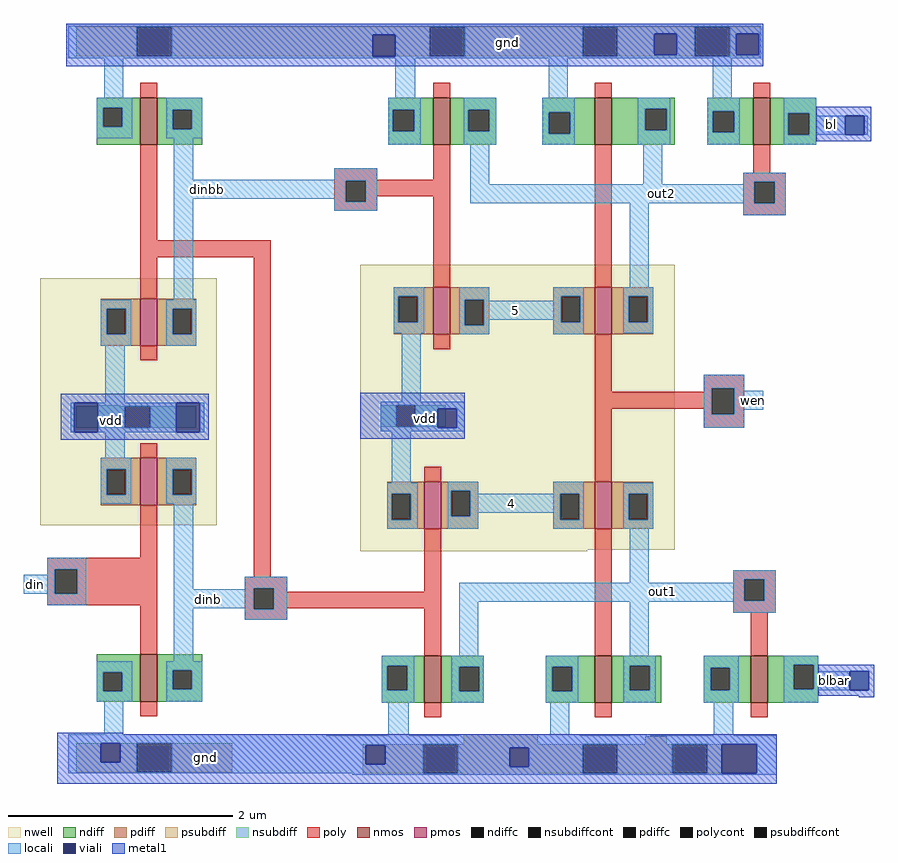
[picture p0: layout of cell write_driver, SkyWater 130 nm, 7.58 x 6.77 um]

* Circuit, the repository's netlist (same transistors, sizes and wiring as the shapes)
* SPICE3 file created from write_driver.ext - technology: sky130A
.SUBCKT write_driver din bl br en vdd gnd
X0 dinb din vdd vdd sky130_fd_pr__pfet_01v8 ad=0.147 pd=1.54 as=0.147 ps=1.54 w=0.42 l=0.15
X1 dinbb dinb vdd vdd sky130_fd_pr__pfet_01v8 ad=0.147 pd=1.54 as=0.147 ps=1.54 w=0.42 l=0.15
X2 out2 dinbb gnd gnd sky130_fd_pr__nfet_01v8 ad=0.1722 pd=1.66 as=0.168 ps=1.64 w=0.42 l=0.15
X3 dinbb dinb gnd gnd sky130_fd_pr__nfet_01v8 ad=0.168 pd=1.64 as=0.1638 ps=1.62 w=0.42 l=0.15
X4 out1 wen 4 vdd sky130_fd_pr__pfet_01v8 ad=0.1554 pd=1.58 as=0.1554 ps=1.58 w=0.42 l=0.15
X5 4 dinb vdd vdd sky130_fd_pr__pfet_01v8 ad=0.1386 pd=1.5 as=0.1386 ps=1.5 w=0.42 l=0.15
X6 dinb din gnd gnd sky130_fd_pr__nfet_01v8 ad=0.168 pd=1.64 as=0.1638 ps=1.62 w=0.42 l=0.15
X7 bl out2 gnd gnd sky130_fd_pr__nfet_01v8 ad=0.1722 pd=1.66 as=0.1722 ps=1.66 w=0.42 l=0.15
X8 blb out1 gnd gnd sky130_fd_pr__nfet_01v8 ad=0.189 pd=1.74 as=0.1764 ps=1.68 w=0.42 l=0.15
X9 out1 dinb gnd gnd sky130_fd_pr__nfet_01v8 ad=0.1596 pd=1.6 as=0.1596 ps=1.6 w=0.42 l=0.15
X10 5 dinbb vdd vdd sky130_fd_pr__pfet_01v8 ad=0.147 pd=1.54 as=0.147 ps=1.54 w=0.42 l=0.15
X11 out2 wen 5 vdd sky130_fd_pr__pfet_01v8 ad=0.1554 pd=1.58 as=0.1554 ps=1.58 w=0.42 l=0.15
X12 out1 wen gnd gnd sky130_fd_pr__nfet_01v8 ad=0.1848 pd=1.72 as=0.1848 ps=1.72 w=0.42 l=0.15
X13 out2 wen gnd gnd sky130_fd_pr__nfet_01v8 ad=0.2352 pd=1.96 as=0.1974 ps=1.78 w=0.42 l=0.15
.ENDS

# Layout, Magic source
magic
tech sky130A
<< nwell >>
rect -30 198 127 418
rect 255 176 535 430
rect 255 175 457 176
<< nmos >>
rect 59 537 74 579
rect 320 537 335 579
rect 464 537 479 579
rect 605 537 620 579
rect 59 41 74 83
rect 312 40 327 82
rect 464 40 479 82
rect 603 40 618 82
<< pmos >>
rect 59 358 74 400
rect 59 216 74 258
rect 320 368 335 410
rect 464 368 479 410
rect 312 195 327 237
rect 464 195 479 237
<< ndiff >>
rect 20 570 59 579
rect 20 553 26 570
rect 43 553 59 570
rect 20 537 59 553
rect 74 568 114 579
rect 74 551 88 568
rect 105 551 114 568
rect 74 537 114 551
rect 280 568 320 579
rect 280 549 284 568
rect 303 549 320 568
rect 280 537 320 549
rect 335 568 376 579
rect 335 549 351 568
rect 370 549 376 568
rect 335 537 376 549
rect 417 566 464 579
rect 417 547 423 566
rect 442 547 464 566
rect 417 537 464 547
rect 479 569 535 579
rect 479 550 509 569
rect 528 550 535 569
rect 479 537 535 550
rect 564 567 605 579
rect 564 548 569 567
rect 588 548 605 567
rect 564 537 605 548
rect 620 565 661 579
rect 620 546 636 565
rect 655 546 661 565
rect 620 537 661 546
rect 20 67 59 83
rect 20 50 26 67
rect 43 50 59 67
rect 20 41 59 50
rect 74 69 114 83
rect 74 52 88 69
rect 105 52 114 69
rect 74 41 114 52
rect 274 73 312 82
rect 274 51 279 73
rect 297 51 312 73
rect 274 40 312 51
rect 327 72 365 82
rect 327 50 343 72
rect 361 50 365 72
rect 327 40 365 50
rect 420 72 464 82
rect 420 50 426 72
rect 444 50 464 72
rect 420 40 464 50
rect 479 73 523 82
rect 479 51 495 73
rect 513 51 523 73
rect 479 40 523 51
rect 561 71 603 82
rect 561 51 567 71
rect 584 51 603 71
rect 561 40 603 51
rect 618 74 663 82
rect 618 52 641 74
rect 659 52 663 74
rect 618 40 663 52
<< pdiff >>
rect 24 391 59 400
rect 24 368 29 391
rect 46 368 59 391
rect 24 358 59 368
rect 74 391 109 400
rect 74 368 88 391
rect 105 368 109 391
rect 74 358 109 368
rect 24 248 59 258
rect 24 225 29 248
rect 46 225 59 248
rect 24 216 59 225
rect 74 248 109 258
rect 74 225 88 248
rect 105 225 109 248
rect 74 216 109 225
rect 285 402 320 410
rect 285 379 289 402
rect 306 379 320 402
rect 285 368 320 379
rect 335 399 370 410
rect 335 376 348 399
rect 365 376 370 399
rect 335 368 370 376
rect 427 402 464 410
rect 427 379 434 402
rect 451 379 464 402
rect 427 368 464 379
rect 479 402 516 410
rect 479 379 494 402
rect 511 379 516 402
rect 479 368 516 379
rect 279 226 312 237
rect 279 203 283 226
rect 300 203 312 226
rect 279 195 312 203
rect 327 229 360 237
rect 327 206 336 229
rect 353 206 360 229
rect 327 195 360 206
rect 427 226 464 237
rect 427 203 433 226
rect 450 203 464 226
rect 427 195 464 203
rect 479 226 516 237
rect 479 203 494 226
rect 511 203 516 226
rect 479 195 516 203
<< ndiffc >>
rect 26 553 43 570
rect 88 551 105 568
rect 284 549 303 568
rect 351 549 370 568
rect 423 547 442 566
rect 509 550 528 569
rect 569 548 588 567
rect 636 546 655 565
rect 26 50 43 67
rect 88 52 105 69
rect 279 51 297 73
rect 343 50 361 72
rect 426 50 444 72
rect 495 51 513 73
rect 567 51 584 71
rect 641 52 659 74
<< pdiffc >>
rect 29 368 46 391
rect 88 368 105 391
rect 29 225 46 248
rect 88 225 105 248
rect 289 379 306 402
rect 348 376 365 399
rect 434 379 451 402
rect 494 379 511 402
rect 283 203 300 226
rect 336 206 353 229
rect 433 203 450 226
rect 494 203 511 226
<< psubdiff >>
rect 2 616 56 642
rect 87 616 317 642
rect 348 616 453 642
rect 484 616 553 642
rect 584 616 611 642
rect 266 615 286 616
rect 2 -22 56 4
rect 87 -22 141 4
rect 347 3 413 12
rect 509 3 528 10
rect 257 -23 311 3
rect 342 -23 453 3
rect 484 -23 533 3
rect 564 -23 608 3
rect 347 -24 413 -23
<< nsubdiff >>
rect 22 304 41 305
rect 2 285 45 304
rect 68 285 109 304
rect 273 286 287 305
rect 304 286 331 305
<< psubdiffcont >>
rect 56 616 87 642
rect 317 616 348 642
rect 453 616 484 642
rect 553 616 584 642
rect 56 -22 87 4
rect 311 -23 342 3
rect 453 -23 484 3
rect 533 -23 564 3
<< nsubdiffcont >>
rect 45 285 68 304
rect 287 286 304 305
<< poly >>
rect 59 579 74 592
rect 320 579 335 592
rect 464 579 479 592
rect 605 579 620 592
rect 59 452 74 537
rect 232 506 270 516
rect 320 506 335 537
rect 232 505 335 506
rect 232 486 242 505
rect 260 491 335 505
rect 260 486 270 491
rect 232 478 270 486
rect 59 437 175 452
rect 59 400 74 437
rect 59 345 74 358
rect 59 258 74 271
rect 59 169 74 216
rect -24 159 74 169
rect -24 137 -17 159
rect 3 137 74 159
rect 160 152 175 437
rect 320 410 335 491
rect 464 410 479 537
rect 605 512 620 537
rect 596 504 634 512
rect 596 485 606 504
rect 624 485 634 504
rect 596 474 634 485
rect 320 355 335 368
rect 464 317 479 368
rect 561 320 597 332
rect 561 317 568 320
rect 464 302 568 317
rect 312 237 327 250
rect 464 237 479 302
rect 561 297 568 302
rect 588 297 597 320
rect 561 285 597 297
rect -24 127 74 137
rect 59 83 74 127
rect 152 142 190 152
rect 152 123 160 142
rect 178 139 190 142
rect 312 139 327 195
rect 178 124 327 139
rect 178 123 190 124
rect 152 114 190 123
rect 312 82 327 124
rect 464 82 479 195
rect 587 150 625 158
rect 587 131 597 150
rect 615 131 625 150
rect 587 120 625 131
rect 603 82 618 120
rect 59 28 74 41
rect 312 27 327 40
rect 464 27 479 40
rect 603 27 618 40
<< polycont >>
rect 242 486 260 505
rect -17 137 3 159
rect 606 485 624 504
rect 568 297 588 320
rect 160 123 178 142
rect 597 131 615 150
<< locali >>
rect -5 642 612 643
rect -5 616 56 642
rect 87 635 317 642
rect 87 616 266 635
rect 286 616 317 635
rect 348 616 453 642
rect 484 636 553 642
rect 484 617 517 636
rect 537 617 553 636
rect 484 616 553 617
rect 584 636 612 642
rect 584 617 590 636
rect 610 617 612 636
rect 584 616 612 617
rect -5 614 612 616
rect 27 579 44 614
rect 286 579 304 614
rect 423 579 440 614
rect 569 579 586 614
rect 20 570 52 579
rect 20 553 26 570
rect 43 553 52 570
rect 20 543 52 553
rect 82 568 114 579
rect 82 551 88 568
rect 105 551 114 568
rect 82 543 114 551
rect 280 568 309 579
rect 280 549 284 568
rect 303 549 309 568
rect 89 506 106 543
rect 280 537 309 549
rect 347 568 376 579
rect 347 549 351 568
rect 370 549 376 568
rect 347 537 376 549
rect 417 566 446 579
rect 417 547 423 566
rect 442 547 446 566
rect 417 537 446 547
rect 502 569 531 579
rect 502 550 509 569
rect 528 550 531 569
rect 502 537 531 550
rect 564 567 593 579
rect 564 548 569 567
rect 588 548 593 567
rect 564 537 593 548
rect 632 565 661 579
rect 632 546 636 565
rect 655 563 661 565
rect 655 546 687 563
rect 704 546 707 563
rect 632 537 661 546
rect 232 506 270 516
rect 89 505 270 506
rect 89 489 242 505
rect 89 399 106 489
rect 232 486 242 489
rect 260 486 270 505
rect 232 478 270 486
rect 353 502 370 537
rect 507 502 524 537
rect 596 504 634 512
rect 596 502 606 504
rect 353 485 606 502
rect 624 485 634 504
rect 495 410 512 485
rect 596 474 634 485
rect 285 402 312 410
rect 24 391 51 399
rect 24 368 29 391
rect 46 368 51 391
rect 24 358 51 368
rect 82 391 109 399
rect 82 368 88 391
rect 105 368 109 391
rect 285 379 289 402
rect 306 379 312 402
rect 285 369 312 379
rect 343 399 370 410
rect 343 376 348 399
rect 365 398 370 399
rect 427 402 454 410
rect 427 398 434 402
rect 365 381 434 398
rect 365 376 370 381
rect 82 358 109 368
rect 28 307 45 358
rect 292 308 309 369
rect 343 368 370 376
rect 427 379 434 381
rect 451 379 454 402
rect 427 368 454 379
rect 489 402 516 410
rect 489 379 494 402
rect 511 379 516 402
rect 489 369 516 379
rect 561 320 597 332
rect -3 281 0 307
rect 21 304 91 307
rect 21 285 45 304
rect 68 285 91 304
rect 21 281 91 285
rect 112 281 116 307
rect 273 305 348 308
rect 273 286 287 305
rect 304 302 348 305
rect 304 286 324 302
rect 273 285 324 286
rect 341 285 348 302
rect 561 297 568 320
rect 588 318 597 320
rect 588 301 614 318
rect 588 297 597 301
rect 561 285 597 297
rect 273 282 348 285
rect 28 258 45 281
rect 24 248 51 258
rect 24 225 29 248
rect 46 225 51 248
rect 24 217 51 225
rect 82 248 109 258
rect 82 225 88 248
rect 105 225 109 248
rect 283 236 300 282
rect 82 217 109 225
rect 279 226 306 236
rect -24 159 11 169
rect -24 154 -17 159
rect -45 137 -17 154
rect 3 137 11 159
rect -24 127 11 137
rect 89 141 106 217
rect 279 203 283 226
rect 300 203 306 226
rect 279 195 306 203
rect 333 229 360 237
rect 333 206 336 229
rect 353 226 360 229
rect 427 226 454 237
rect 353 209 433 226
rect 353 206 360 209
rect 333 195 360 206
rect 427 203 433 209
rect 450 203 454 226
rect 427 195 454 203
rect 489 226 516 236
rect 489 203 494 226
rect 511 203 516 226
rect 489 195 516 203
rect 152 142 190 152
rect 495 147 512 195
rect 587 150 625 158
rect 587 147 597 150
rect 152 141 160 142
rect 89 124 160 141
rect 89 77 106 124
rect 152 123 160 124
rect 178 123 190 142
rect 152 114 190 123
rect 343 131 597 147
rect 615 131 625 150
rect 343 130 625 131
rect 343 82 360 130
rect 495 82 512 130
rect 587 120 625 130
rect 20 67 52 77
rect 20 50 26 67
rect 43 50 52 67
rect 20 41 52 50
rect 82 69 114 77
rect 82 52 88 69
rect 105 52 114 69
rect 82 41 114 52
rect 274 73 303 82
rect 274 51 279 73
rect 297 51 303 73
rect 27 12 44 41
rect 274 40 303 51
rect 336 72 365 82
rect 336 50 343 72
rect 361 50 365 72
rect 336 40 365 50
rect 420 72 449 82
rect 420 50 426 72
rect 444 50 449 72
rect 420 40 449 50
rect 489 73 518 82
rect 489 51 495 73
rect 513 51 518 73
rect 489 40 518 51
rect 561 71 592 82
rect 561 51 567 71
rect 584 51 592 71
rect 561 40 592 51
rect 632 74 663 82
rect 632 52 641 74
rect 659 68 663 74
rect 659 52 691 68
rect 632 51 691 52
rect 632 40 663 51
rect -5 11 224 12
rect 280 11 298 40
rect 424 12 441 40
rect 343 11 450 12
rect 496 11 513 12
rect 570 11 587 40
rect -5 4 626 11
rect -5 -13 24 4
rect 41 -13 56 4
rect -5 -22 56 -13
rect 87 3 626 4
rect 87 2 311 3
rect 87 -15 260 2
rect 277 -15 311 2
rect 87 -22 311 -15
rect -5 -23 311 -22
rect 342 0 453 3
rect 342 -17 388 0
rect 405 -17 453 0
rect 342 -23 453 -17
rect 484 -23 533 3
rect 564 -23 577 3
rect 608 -23 626 3
rect 248 -24 626 -23
<< viali >>
rect 266 616 286 635
rect 517 617 537 636
rect 590 617 610 636
rect 687 546 704 563
rect 0 281 21 307
rect 91 281 112 307
rect 324 285 341 302
rect 691 51 708 68
rect 24 -13 41 4
rect 260 -15 277 2
rect 388 -17 405 0
rect 577 -23 608 3
<< metal1 >>
rect -7 636 614 645
rect -7 635 517 636
rect -7 616 266 635
rect 286 617 517 635
rect 537 617 590 636
rect 610 617 614 636
rect 286 616 614 617
rect -7 607 614 616
rect 661 563 710 571
rect 661 546 687 563
rect 704 546 710 563
rect 661 540 710 546
rect -12 307 120 315
rect -12 281 0 307
rect 21 281 91 307
rect 112 281 120 307
rect -12 274 120 281
rect 255 302 348 316
rect 255 285 324 302
rect 341 285 348 302
rect 255 275 348 285
rect 663 68 713 74
rect 663 51 691 68
rect 708 51 713 68
rect 663 46 713 51
rect 699 45 713 46
rect -15 12 44 13
rect -15 4 626 12
rect -15 -13 24 4
rect 41 3 626 4
rect 41 2 577 3
rect 41 -13 260 2
rect -15 -15 260 -13
rect 277 0 577 2
rect 277 -15 388 0
rect -15 -17 388 -15
rect 405 -17 577 0
rect -15 -23 577 -17
rect 608 -23 626 3
rect -15 -32 626 -23
<< labels >>
flabel locali 108 124 131 140 0 FreeSans 80 0 0 0 dinb
flabel metal1 24 283 43 300 0 FreeSans 72 270 0 0 vdd
flabel metal1 307 285 320 302 0 FreeSans 72 270 0 0 vdd
flabel metal1 359 615 413 642 0 FreeSans 152 0 0 0 gnd
flabel metal1 94 -22 141 4 0 FreeSans 152 0 0 0 gnd
flabel locali 91 490 146 505 0 FreeSans 152 0 0 0 dinbb
flabel locali -44 138 -25 153 0 FreeSans 120 0 0 0 din
flabel locali 504 131 545 147 0 FreeSans 144 0 0 0 out1
flabel locali 507 486 539 502 0 FreeSans 144 0 0 0 out2
flabel metal1 663 547 686 563 0 FreeSans 120 0 0 0 bl
flabel metal1 666 53 688 67 0 FreeSans 96 0 0 0 blbar
flabel locali 375 210 405 225 0 FreeSans 120 0 0 0 4
flabel locali 379 382 407 397 0 FreeSans 120 0 0 0 5
flabel locali 599 303 612 315 0 FreeSans 88 0 0 0 wen
<< end >>
